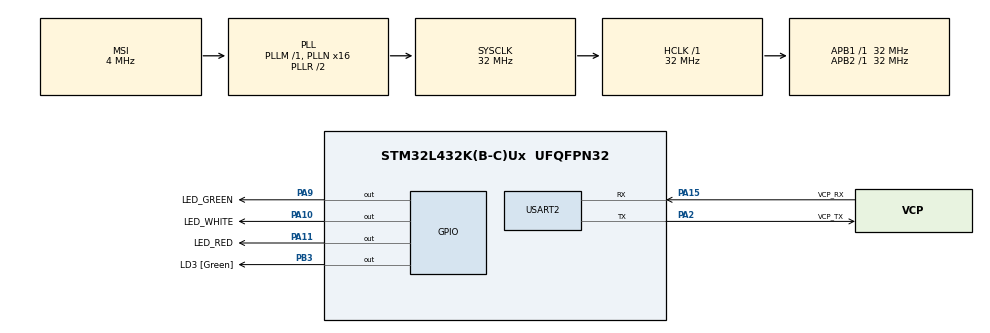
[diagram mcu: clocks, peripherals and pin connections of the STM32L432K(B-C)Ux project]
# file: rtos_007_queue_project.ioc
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FREERTOS.Queues01=print_queue,100,uint16_t,0,Dynamic,NULL,NULL;commandQueue,100,uint16_t,0,Dynamic,NULL,NULL
FREERTOS.Tasks01=defaultTask,24,128,StartDefaultTask,Default,NULL,Dynamic,NULL,NULL
FREERTOS.Timers01=myTimer01,Callback01,osTimerPeriodic,Default,NULL,Dynamic,NULL;myTimer02,Callback02,osTimerPeriodic,Default,NULL,Dynamic,NULL;myTimer03,Callback03,osTimerPeriodic,Default,NULL,Dynamic,NULL;myTimer04,Callback04,osTimerPeriodic,Default,NULL,Dynamic,NULL
FREERTOS.configTOTAL_HEAP_SIZE=7168
FREERTOS.configUSE_NEWLIB_REENTRANT=1
Mcu.Family=STM32L4
Mcu.Name=STM32L432K(B-C)Ux
Mcu.Package=UFQFPN32
NVIC.PriorityGroup=NVIC_PRIORITYGROUP_4
NVIC.TIM6_DAC_IRQn=true\:15\:0\:false\:false\:true\:false\:false\:true\:true
NVIC.TimeBase=TIM6_DAC_IRQn
NVIC.TimeBaseIP=TIM6
NVIC.USART2_IRQn=true\:6\:0\:true\:false\:true\:true\:true\:true\:true
PA10.GPIO_Label=LED_WHITE
PA10.Signal=GPIO_Output
PA11.GPIO_Label=LED_RED
PA11.Signal=GPIO_Output
PA13\ (JTMS-SWDIO).GPIO_Label=SWDIO
PA13\ (JTMS-SWDIO).Mode=Serial_Wire
PA13\ (JTMS-SWDIO).Signal=SYS_JTMS-SWDIO
PA14\ (JTCK-SWCLK).GPIO_Label=SWCLK
PA14\ (JTCK-SWCLK).Mode=Serial_Wire
PA14\ (JTCK-SWCLK).Signal=SYS_JTCK-SWCLK
PA15\ (JTDI).GPIO_Label=VCP_RX
PA15\ (JTDI).Mode=Asynchronous
PA15\ (JTDI).Signal=USART2_RX
PA2.GPIO_Label=VCP_TX
PA2.Mode=Asynchronous
PA2.Signal=USART2_TX
PA9.GPIO_Label=LED_GREEN
PA9.Signal=GPIO_Output
PB3\ (JTDO-TRACESWO).GPIO_Label=LD3 [Green]
PB3\ (JTDO-TRACESWO).Signal=GPIO_Output
ProjectManager.HeapSize=0x200
ProjectManager.StackSize=0x400
ProjectManager.TargetToolchain=STM32CubeIDE
RCC.AHBFreq_Value=32000000
RCC.APB1Freq_Value=32000000
RCC.APB1TimFreq_Value=32000000
RCC.APB2Freq_Value=32000000
RCC.APB2TimFreq_Value=32000000
RCC.CortexFreq_Value=32000000
RCC.HCLKFreq_Value=32000000
RCC.HSE_VALUE=8000000
RCC.HSI16_VALUE=16000000
RCC.HSI48_VALUE=48000000
RCC.HSI_VALUE=16000000
RCC.LSE_VALUE=32768
RCC.MSI_VALUE=4000000
RCC.PLLMUL=RCC_PLLMUL_4
RCC.PLLN=16
RCC.SYSCLKFreq_VALUE=32000000
RCC.SYSCLKSource=RCC_SYSCLKSOURCE_PLLCLK
RCC.VCOOutputFreq_Value=64000000
RTC.HourFormat=RTC_HOURFORMAT_12
USART2.VirtualMode-Asynchronous=VM_ASYNC
VP_FREERTOS_VS_CMSIS_V2.Mode=CMSIS_V2
VP_RTC_VS_RTC_Activate.Mode=RTC_Enabled
VP_SYS_VS_tim6.Mode=TIM6
board=NUCLEO-L432KC

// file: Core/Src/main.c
/* USER CODE BEGIN Header */
/**
 ******************************************************************************
 * @file           : main.c
 * @brief          : Main program body
 ******************************************************************************
 * @attention
 *
 * Copyright (c) 2025 STMicroelectronics.
 * All rights reserved.
 *
 * This software is licensed under terms that can be found in the LICENSE file
 * in the root directory of this software component.
 * If no LICENSE file comes with this software, it is provided AS-IS.
 *
 ******************************************************************************
 */
/* USER CODE END Header */
#include "cmsis_os.h"
#include "main.h"

/* USER CODE BEGIN Includes */
#include "FreeRTOS.h"
/* USER CODE END Includes */

RTC_HandleTypeDef hrtc;

UART_HandleTypeDef huart2;

/* Definitions for defaultTask */
osThreadId_t defaultTaskHandle;
const osThreadAttr_t defaultTask_attributes = {
    .name = "defaultTask",
    .stack_size = 128 * 4,
    .priority = (osPriority_t)osPriorityNormal,
};
/* Definitions for print_queue */
osMessageQueueId_t print_queueHandle;
const osMessageQueueAttr_t print_queue_attributes = {.name = "print_queue"};
/* Definitions for commandQueue */
osMessageQueueId_t commandQueueHandle;
const osMessageQueueAttr_t commandQueue_attributes = {.name = "commandQueue"};
/* Definitions for myTimer01 */
osTimerId_t myTimer01Handle;
const osTimerAttr_t myTimer01_attributes = {.name = "myTimer01"};
/* Definitions for myTimer02 */
osTimerId_t myTimer02Handle;
const osTimerAttr_t myTimer02_attributes = {.name = "myTimer02"};
/* Definitions for myTimer03 */
osTimerId_t myTimer03Handle;
const osTimerAttr_t myTimer03_attributes = {.name = "myTimer03"};
/* Definitions for myTimer04 */
osTimerId_t myTimer04Handle;
const osTimerAttr_t myTimer04_attributes = {.name = "myTimer04"};

void SystemClock_Config(void);
static void MX_GPIO_Init(void);
static void MX_USART2_UART_Init(void);
static void MX_RTC_Init(void);
void StartDefaultTask(void *argument);
void Callback01(void *argument);
void Callback02(void *argument);
void Callback03(void *argument);
void Callback04(void *argument);

/* USER CODE BEGIN PFP */
TaskHandle_t ledTaskHandle;
TaskHandle_t rtcTaskHandle;
TaskHandle_t menuTaskHandle;
TaskHandle_t printTaskHandle;
TaskHandle_t commandTaskHandle;

// software timer handle

// osMessageQueueId_t gCurrentQueueHandle=commandQueue_attributes;
// TaskHandle_t* pcurrentHandle=&menuTaskHandle;
TaskHandle_t *pcurrentHandle = &commandTaskHandle;
/* USER CODE END PFP */

/* USER CODE BEGIN 0 */

#ifdef __GNUC__
/* With GCC/RAISONANCE, small printf (option LD Linker->Libraries->Small printf
   set to 'Yes') calls __io_putchar() */
#define PUTCHAR_PROTOTYPE int __io_putchar(int ch)
#else
#define PUTCHAR_PROTOTYPE int fputc(int ch, FILE *f)
#endif /* _GNUC_ */

PUTCHAR_PROTOTYPE {
  /* Place your implementation of fputc here */
  /* e.g. write a character to the USART2 and Loop until the end of transmission */
  HAL_UART_Transmit(&huart2, (uint8_t *)&ch, 1, 0xFFFF);
  return ch;
}

volatile uint8_t gRxData = 0;

uint8_t enqueueDataFromIsr() {
  osStatus_t status = 0;
  status = osMessageQueuePut(commandQueueHandle, (void *)&gRxData, 1, 0);
  if (status == osOK) {
    return 1;
  }
  return 0;
}

void notifyCommandTask(void) {
  BaseType_t pxHigherPriorityTaskWoken = pdFAIL;
  xTaskNotifyFromISR(commandTaskHandle, 0, eNoAction, &pxHigherPriorityTaskWoken);
  portYIELD_FROM_ISR(pxHigherPriorityTaskWoken);  // requesting context switching manually
}

void HAL_UART_RxCpltCallback(UART_HandleTypeDef *huart) {
  UNUSED(huart);
  if (osMessageQueueGetSpace(commandQueueHandle) != 0)  // first we check whether queue is empty or not
  {                                                     // queue is not full
    enqueueDataFromIsr();
  } else {
    // if queue is full : check if the gRxData is '\n' put it at the end of queue , else ignore
    if (gRxData == '\n') {
      uint8_t dummydata = 0;
      osMessageQueueGet(commandQueueHandle, (void *)&dummydata, NULL, 0);   // deleting last data
      osMessageQueuePut(commandQueueHandle, (uint8_t *)&gRxData, 1, 1000);  // storing'\n' in last byte
                                                                            //		  notifyCommandTask();
    }
  }
  if (gRxData == '\n') {
    notifyCommandTask();
  }
  HAL_UART_Receive_IT(&huart2, (uint8_t *)&gRxData, 1);
}

void printHeapSize() {
  size_t freeHeap = xPortGetFreeHeapSize();
  uint8_t buff[50] = {0};
  int len = snprintf((char *)buff, sizeof(buff), "Free Heap Size: %u\r\n", freeHeap);

  HAL_UART_Transmit(&huart2, buff, len, 1000);  // Send the exact number of characters written

  //	    printf("Free Heap Size: %u\n", freeHeap);
}

/* USER CODE END 0 */

int main(void) {
  /* USER CODE BEGIN 1 */
  BaseType_t status;
  /* USER CODE END 1 */

  /* MCU Configuration--------------------------------------------------------*/

  /* Reset of all peripherals, Initializes the Flash interface and the Systick. */
  HAL_Init();

  /* Configure the system clock */
  SystemClock_Config();

  /* Initialize all configured peripherals */
  MX_GPIO_Init();
  MX_USART2_UART_Init();
  MX_RTC_Init();

  /* Init scheduler */
  //  osKernelInitialize();

  /* Create the timer(s) */
  /* creation of myTimer01 */
  myTimer01Handle = osTimerNew(Callback01, osTimerPeriodic, NULL, &myTimer01_attributes);

  /* creation of myTimer02 */
  myTimer02Handle = osTimerNew(Callback02, osTimerPeriodic, NULL, &myTimer02_attributes);

  /* creation of myTimer03 */
  myTimer03Handle = osTimerNew(Callback03, osTimerPeriodic, NULL, &myTimer03_attributes);

  /* creation of myTimer04 */
  myTimer04Handle = osTimerNew(Callback04, osTimerPeriodic, NULL, &myTimer04_attributes);

  /* Create the queue(s) */
  /* creation of print_queue */
  print_queueHandle = osMessageQueueNew(100, sizeof(char *), &print_queue_attributes);

  /* creation of commandQueue */
  commandQueueHandle = osMessageQueueNew(100, sizeof(uint16_t), &commandQueue_attributes);

  /* Create the thread(s) */
  /* creation of defaultTask */
  //  defaultTaskHandle = osThreadNew(StartDefaultTask, NULL, &defaultTask_attributes);

  /* USER CODE BEGIN RTOS_EVENTS */
  /* add events, ... */
  status = xTaskCreate(ledTask, "led_task", 200, NULL, 2, &ledTaskHandle);
  if (status != pdPASS) {
    printf("led task creation failed\r\n");
  }
  status = xTaskCreate(rtcTask, "rtc_task", 200, NULL, 2, &rtcTaskHandle);
  if (status != pdPASS) {
    printf("rtc_task creation failed\r\n");
  }
  status = xTaskCreate(menuTask, "menu_task", 200, NULL, 2, &menuTaskHandle);
  if (status != pdPASS) {
    printf("main_task creation failed\r\n");
  }
  status = xTaskCreate(printTask, "print_task", 200, NULL, 2, &printTaskHandle);
  printHeapSize();
  if (status != pdPASS) {
    printf("print_task creation failed\r\n");
  }

  printHeapSize();
  status = xTaskCreate(commandTask, "command_task", 200, NULL, 2, &commandTaskHandle);
  if (status != pdPASS) {
    printf("command_task creation failed\r\n");
  }
  // suspending all task except menu task.
  printHeapSize();
  //
  //        TimerHandle_t xTimerCreate
  //                        ( const char * const pcTimerName,
  //                          const TickType_t xTimerPeriod,
  //                          const UBaseType_t uxAutoReload,
  //                          void * const pvTimerID,
  //                          TimerCallbackFunction_t pxCallbackFunction );

  HAL_UART_Receive_IT(&huart2, (uint8_t *)&gRxData, 1);

  vTaskStartScheduler();
  HAL_UART_Transmit(&huart2, (uint8_t *)"Scheduler initialization failed\r\n", sizeof("Scheduler initialization failed\r\n") - 1, 1000);
  /* USER CODE END RTOS_EVENTS */

  /* Start scheduler */
  //  osKernelStart();
  /* We should never get here as control is now taken by the scheduler */
  /* Infinite loop */
  while (1) {
  }
}

void SystemClock_Config(void) {
  RCC_OscInitTypeDef RCC_OscInitStruct = {0};
  RCC_ClkInitTypeDef RCC_ClkInitStruct = {0};

  /** Configure the main internal regulator output voltage
   */
  if (HAL_PWREx_ControlVoltageScaling(PWR_REGULATOR_VOLTAGE_SCALE1) != HAL_OK) {
    Error_Handler();
  }

  /** Initializes the RCC Oscillators according to the specified parameters
   * in the RCC_OscInitTypeDef structure.
   */
  RCC_OscInitStruct.OscillatorType = RCC_OSCILLATORTYPE_LSI | RCC_OSCILLATORTYPE_MSI;
  RCC_OscInitStruct.LSIState = RCC_LSI_ON;
  RCC_OscInitStruct.MSIState = RCC_MSI_ON;
  RCC_OscInitStruct.MSICalibrationValue = 0;
  RCC_OscInitStruct.MSIClockRange = RCC_MSIRANGE_6;
  RCC_OscInitStruct.PLL.PLLState = RCC_PLL_ON;
  RCC_OscInitStruct.PLL.PLLSource = RCC_PLLSOURCE_MSI;
  RCC_OscInitStruct.PLL.PLLM = 1;
  RCC_OscInitStruct.PLL.PLLN = 16;
  RCC_OscInitStruct.PLL.PLLP = RCC_PLLP_DIV7;
  RCC_OscInitStruct.PLL.PLLQ = RCC_PLLQ_DIV2;
  RCC_OscInitStruct.PLL.PLLR = RCC_PLLR_DIV2;
  if (HAL_RCC_OscConfig(&RCC_OscInitStruct) != HAL_OK) {
    Error_Handler();
  }

  /** Initializes the CPU, AHB and APB buses clocks
   */
  RCC_ClkInitStruct.ClockType = RCC_CLOCKTYPE_HCLK | RCC_CLOCKTYPE_SYSCLK | RCC_CLOCKTYPE_PCLK1 | RCC_CLOCKTYPE_PCLK2;
  RCC_ClkInitStruct.SYSCLKSource = RCC_SYSCLKSOURCE_PLLCLK;
  RCC_ClkInitStruct.AHBCLKDivider = RCC_SYSCLK_DIV1;
  RCC_ClkInitStruct.APB1CLKDivider = RCC_HCLK_DIV1;
  RCC_ClkInitStruct.APB2CLKDivider = RCC_HCLK_DIV1;

  if (HAL_RCC_ClockConfig(&RCC_ClkInitStruct, FLASH_LATENCY_1) != HAL_OK) {
    Error_Handler();
  }
}

static void MX_RTC_Init(void) {

  /** Initialize RTC Only
   */
  hrtc.Instance = RTC;
  hrtc.Init.HourFormat = RTC_HOURFORMAT_12;
  hrtc.Init.AsynchPrediv = 127;
  hrtc.Init.SynchPrediv = 255;
  hrtc.Init.OutPut = RTC_OUTPUT_DISABLE;
  hrtc.Init.OutPutRemap = RTC_OUTPUT_REMAP_NONE;
  hrtc.Init.OutPutPolarity = RTC_OUTPUT_POLARITY_HIGH;
  hrtc.Init.OutPutType = RTC_OUTPUT_TYPE_OPENDRAIN;
  if (HAL_RTC_Init(&hrtc) != HAL_OK) {
    Error_Handler();
  }
}

static void MX_USART2_UART_Init(void) {

  huart2.Instance = USART2;
  huart2.Init.BaudRate = 115200;
  huart2.Init.WordLength = UART_WORDLENGTH_8B;
  huart2.Init.StopBits = UART_STOPBITS_1;
  huart2.Init.Parity = UART_PARITY_NONE;
  huart2.Init.Mode = UART_MODE_TX_RX;
  huart2.Init.HwFlowCtl = UART_HWCONTROL_NONE;
  huart2.Init.OverSampling = UART_OVERSAMPLING_16;
  huart2.Init.OneBitSampling = UART_ONE_BIT_SAMPLE_DISABLE;
  huart2.AdvancedInit.AdvFeatureInit = UART_ADVFEATURE_NO_INIT;
  if (HAL_UART_Init(&huart2) != HAL_OK) {
    Error_Handler();
  }
}

static void MX_GPIO_Init(void) {
  GPIO_InitTypeDef GPIO_InitStruct = {0};

  /* GPIO Ports Clock Enable */
  __HAL_RCC_GPIOA_CLK_ENABLE();
  __HAL_RCC_GPIOB_CLK_ENABLE();

  /*Configure GPIO pin Output Level */
  HAL_GPIO_WritePin(GPIOA, LED_GREEN_Pin | LED_WHITE_Pin | LED_RED_Pin, GPIO_PIN_RESET);

  /*Configure GPIO pin Output Level */
  HAL_GPIO_WritePin(LD3_GPIO_Port, LD3_Pin, GPIO_PIN_RESET);

  /*Configure GPIO pins : LED_GREEN_Pin LED_WHITE_Pin LED_RED_Pin */
  GPIO_InitStruct.Pin = LED_GREEN_Pin | LED_WHITE_Pin | LED_RED_Pin;
  GPIO_InitStruct.Mode = GPIO_MODE_OUTPUT_PP;
  GPIO_InitStruct.Pull = GPIO_NOPULL;
  GPIO_InitStruct.Speed = GPIO_SPEED_FREQ_LOW;
  HAL_GPIO_Init(GPIOA, &GPIO_InitStruct);

  /*Configure GPIO pin : LD3_Pin */
  GPIO_InitStruct.Pin = LD3_Pin;
  GPIO_InitStruct.Mode = GPIO_MODE_OUTPUT_PP;
  GPIO_InitStruct.Pull = GPIO_NOPULL;
  GPIO_InitStruct.Speed = GPIO_SPEED_FREQ_LOW;
  HAL_GPIO_Init(LD3_GPIO_Port, &GPIO_InitStruct);

}

void StartDefaultTask(void *argument) {
  for (;;) {
    osDelay(1);
  }
}

/* Callback01 function */
void Callback01(void *argument) {
  /* USER CODE BEGIN Callback01 */
  LED_Effect1();
  /* USER CODE END Callback01 */
}

/* Callback02 function */
void Callback02(void *argument) {
  /* USER CODE BEGIN Callback02 */
  LED_Effect2();
  /* USER CODE END Callback02 */
}

/* Callback03 function */
void Callback03(void *argument) {
  /* USER CODE BEGIN Callback03 */
  LED_Effect3();
  /* USER CODE END Callback03 */
}

/* Callback04 function */
void Callback04(void *argument) {
  /* USER CODE BEGIN Callback04 */
  LED_Effect4();
  /* USER CODE END Callback04 */
}

void HAL_TIM_PeriodElapsedCallback(TIM_HandleTypeDef *htim) {
  if (htim->Instance == TIM6) {
    HAL_IncTick();
  }
}

void Error_Handler(void) {
  __disable_irq();
  while (1) {
  }
}
